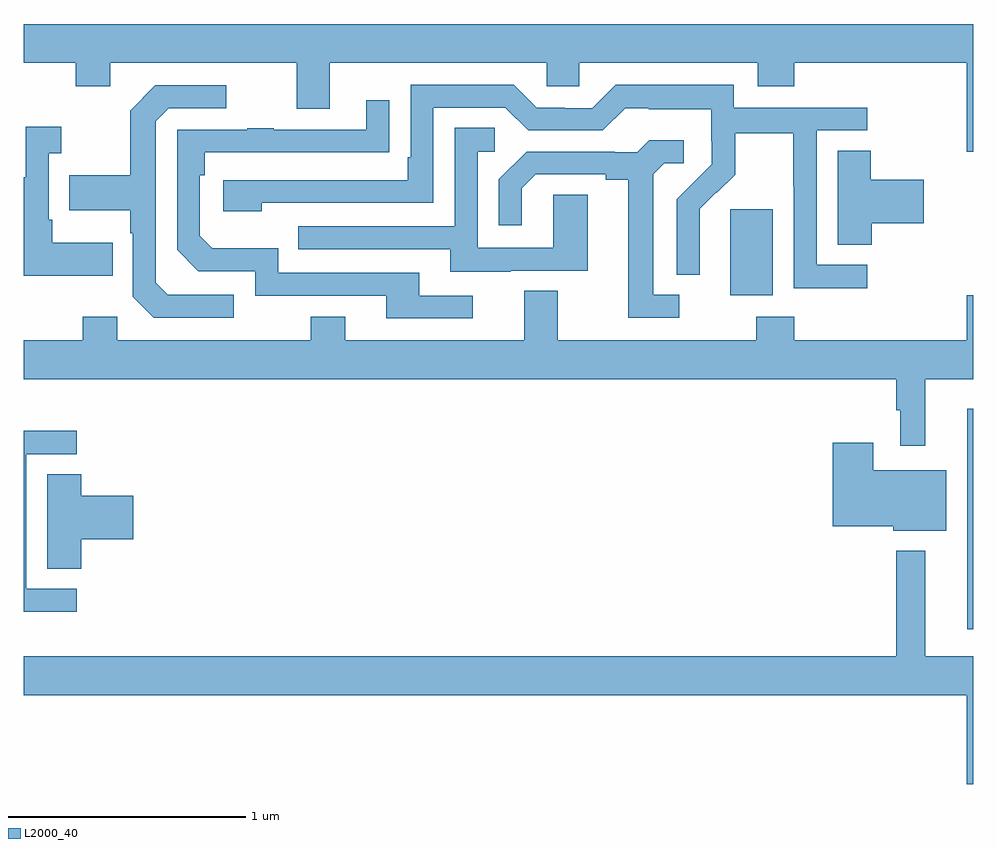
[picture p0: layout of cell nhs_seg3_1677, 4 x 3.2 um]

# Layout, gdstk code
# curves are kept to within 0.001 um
import gdstk
lib = gdstk.Library(unit=1e-6, precision=1e-09)
def R(c, l, rs):  # rectangles x0, y0, x1, y1
    for r in rs: c.add(gdstk.rectangle(r[:2], r[2:], *l))
def P(c, l, *ps):  # polygons
    for p in ps: c.add(gdstk.Polygon(p, *l))
L2000_40 = (2000, 40)

nhs_seg3_1677 = lib.new_cell('nhs_seg3_1677')
R(nhs_seg3_1677, L2000_40, [(200.975,725.171,201,726.1), (199.976,726.578,200.155,726.939)])
P(nhs_seg3_1677, L2000_40, [(201,727.72),(197,727.72),(197,727.556),(197.218,727.556),(197.218,727.457),(197.365,727.457),(197.365,727.556),(198.149,727.556),(198.149,727.362),(198.289,727.362),(198.289,727.556),(199.203,727.556),(199.203,727.458),(199.341,727.458),(199.341,727.556),(200.093,727.556),(200.093,727.457),(200.246,727.457),(200.246,727.556),(200.972,727.556),(200.972,727.182),(201,727.182)],
  [(200.554,726.705),(200.34,726.705),(200.34,727.272),(200.554,727.272),(200.554,727.368),(199.992,727.368),(199.992,727.465),(199.495,727.465),(199.395,727.365),(199.28,727.365),(199.28,727.368),(199.161,727.368),(199.065,727.464),(198.63,727.464),(198.63,727.159),(198.617,727.159),(198.617,727.062),(197.841,727.062),(197.841,726.932),(198.002,726.932),(198.002,726.966),(198.726,726.966),(198.726,727.368),(199.029,727.368),(199.125,727.272),(199.44,727.272),(199.533,727.365),(199.633,727.365),(199.633,727.361),(199.896,727.361),(199.896,727.227),(199.898,727.227),(199.898,727.13),(199.752,726.982),(199.752,726.664),(199.848,726.664),(199.847,726.941),(199.917,727.011),(199.92,727.008),(199.997,727.085),(199.997,727.26),(200.242,727.26),(200.242,727.036),(200.244,727.036),(200.244,726.607),(200.554,726.607)],
  [(197.884,726.579),(197.607,726.579),(197.556,726.63),(197.556,727.311),(197.61,727.365),(197.854,727.365),(197.854,727.461),(197.553,727.461),(197.448,727.355),(197.448,727.083),(197.191,727.083),(197.191,726.935),(197.448,726.935),(197.448,726.839),(197.46,726.839),(197.46,726.57),(197.547,726.483),(197.884,726.483)],
  [(198.892,726.576),(198.667,726.576),(198.667,726.672),(198.072,726.672),(198.072,726.775),(197.795,726.775),(197.742,726.828),(197.742,727.082),(197.762,727.082),(197.762,727.179),(198.539,727.18),(198.539,727.399),(198.443,727.399),(198.443,727.275),(198.053,727.275),(198.053,727.28),(197.941,727.28),(197.941,727.275),(197.646,727.275),(197.646,726.768),(197.736,726.678),(197.976,726.678),(197.976,726.576),(198.527,726.576),(198.527,726.48),(198.892,726.48)],
  [(197.375,726.799),(197.119,726.799),(197.119,726.895),(197.106,726.895),(197.106,727.175),(197.158,727.175),(197.158,727.288),(197.009,727.288),(197.009,727.075),(197,727.075),(197,726.659),(197.375,726.659)],
  [(199.051,726.681),(199.375,726.681),(199.375,727.001),(199.23,727.001),(199.23,726.777),(198.912,726.777),(198.912,727.182),(198.985,727.182),(198.985,727.283),(198.816,727.283),(198.816,726.867),(198.157,726.867),(198.157,726.771),(198.797,726.771),(198.797,726.677),(199.051,726.677)],
  [(199.762,726.579),(199.651,726.579),(199.651,727.087),(199.698,727.134),(199.78,727.134),(199.78,727.231),(199.636,727.231),(199.584,727.179),(199.49,727.179),(199.49,727.182),(199.118,727.182),(199.002,727.066),(199.002,726.873),(199.099,726.873),(199.099,727.029),(199.156,727.086),(199.451,727.086),(199.451,727.064),(199.547,727.064),(199.547,726.483),(199.762,726.483)],
  [(200.573,726.881),(200.791,726.881),(200.791,727.064),(200.568,727.064),(200.568,727.187),(200.429,727.187),(200.429,726.79),(200.573,726.79)],
  [(200.797,726.224),(201,726.224),(201,726.577),(200.972,726.577),(200.972,726.388),(200.246,726.388),(200.246,726.487),(200.086,726.487),(200.086,726.388),(199.249,726.388),(199.249,726.596),(199.109,726.596),(199.109,726.388),(198.355,726.388),(198.355,726.487),(198.208,726.487),(198.208,726.388),(197.394,726.388),(197.394,726.487),(197.248,726.487),(197.248,726.388),(197,726.388),(197,726.224),(200.676,726.224),(200.676,726.092),(200.693,726.092),(200.693,725.943),(200.797,725.943)],
  [(197.224,725.34),(197.01,725.34),(197.01,725.907),(197.224,725.907),(197.224,726.006),(197,726.006),(197,725.244),(197.224,725.244)],
  [(200.887,725.839),(200.578,725.839),(200.578,725.956),(200.408,725.956),(200.408,725.603),(200.664,725.603),(200.664,725.585),(200.887,725.585)],
  [(197.243,725.549),(197.461,725.549),(197.461,725.732),(197.243,725.732),(197.243,725.822),(197.099,725.822),(197.099,725.425),(197.243,725.425)],
  [(200.676,725.5),(200.676,725.056),(197,725.056),(197,724.892),(200.972,724.892),(200.972,724.518),(201,724.518),(201,725.056),(200.797,725.056),(200.797,725.5)])

lib.write_gds('nhs_seg3_1677.gds')
